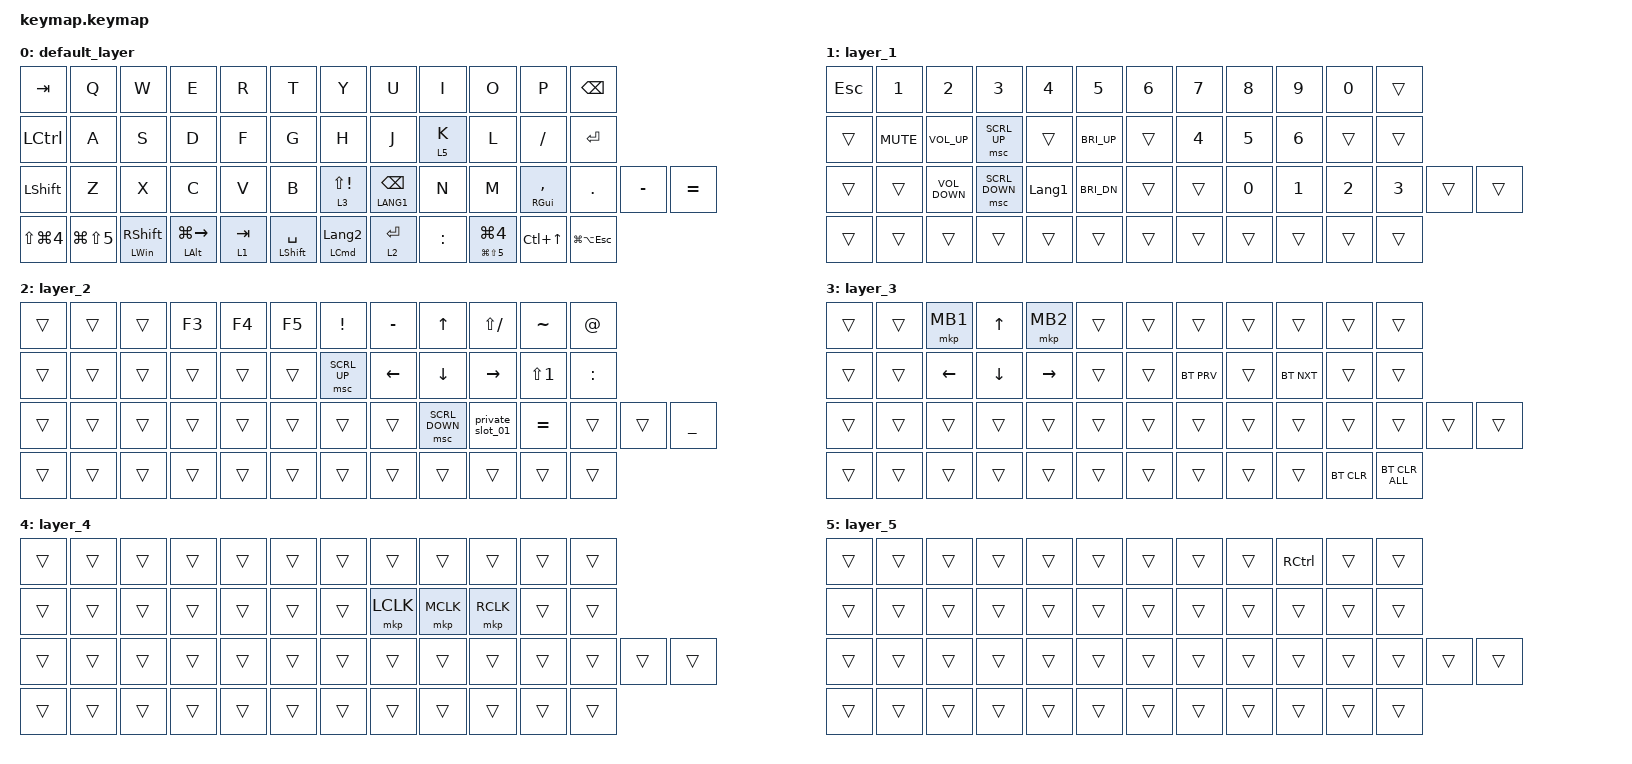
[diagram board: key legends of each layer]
/* Coron LP source confirmed: 2026-09-08 build94.
 * ZEN port: private text macros remain inactive placeholders.
 * Ordinary keymap compiled locally; no flash performed.
 */

#include <behaviors.dtsi>
#include <dt-bindings/zmk/bt.h>
#include <dt-bindings/zmk/keys.h>
#include <dt-bindings/zmk/pointing.h>

&mt {
    flavor = "balanced";
    quick-tap-ms = <0>;
};

/ {
    macros {
        to_layer_0: to_layer_0 {
            compatible = "zmk,behavior-macro-one-param";
            #binding-cells = <1>;
            bindings = <&to 0 &macro_param_1to1 &kp MACRO_PLACEHOLDER>;
        };

        private_slot_01: private_slot_01 {
            compatible = "zmk,behavior-macro";
            #binding-cells = <0>;
            bindings = <&none &kp S &kp H &kp E &kp N &kp N &kp R &kp O &kp N &kp N &kp N7 &kp NUMBER_2 &kp NUMBER_1 &kp N0>;
        };

        private_slot_02: private_slot_02 {
            compatible = "zmk,behavior-macro";
            #binding-cells = <0>;
            bindings = <&none &kp LS(S) &kp H &kp E &kp N &kp N &kp R &kp O &kp N &kp N &kp N7 &kp NUMBER_2 &kp NUMBER_1 &kp N0>;
        };

        private_slot_03: private_slot_03 {
            compatible = "zmk,behavior-macro";
            #binding-cells = <0>;
            bindings = <&none &kp S &kp H &kp E &kp N &kp N &kp R &kp O &kp N &kp N &kp N7 &kp NUMBER_2 &kp NUMBER_1 &kp N0 &kp EXCLAMATION>;
        };

        private_slot_04: private_slot_04 {
            compatible = "zmk,behavior-macro";
            #binding-cells = <0>;
            bindings = <&none &kp LS(S) &kp H &kp E &kp N &kp N &kp R &kp O &kp N &kp N &kp N7 &kp NUMBER_2 &kp NUMBER_1 &kp N0 &kp EXCLAMATION>;
        };

        private_slot_05: private_slot_05 {
            compatible = "zmk,behavior-macro";
            #binding-cells = <0>;
            bindings = <&none &kp Y &kp U &kp S &kp U &kp K &kp E &kp N7 &kp NUMBER_2 &kp NUMBER_1 &kp N0 &kp EXCLAMATION>;
        };

        private_slot_06: private_slot_06 {
            compatible = "zmk,behavior-macro";
            #binding-cells = <0>;
            bindings = <&none &kp LS(Y) &kp U &kp S &kp U &kp K &kp E &kp N7 &kp NUMBER_2 &kp NUMBER_1 &kp N0 &kp EXCLAMATION>;
        };
    };

    behaviors {
        lt_to_layer_0: lt_to_layer_0 {
            compatible = "zmk,behavior-hold-tap";
            bindings = <&mo>, <&to_layer_0>;

            #binding-cells = <2>;
            tapping-term-ms = <200>;
        };
    };

    combos {
        compatible = "zmk,combos";

        eq {
            bindings = <&kp LEFT_BRACKET>;
            key-positions = <9 22>;
            timeout-ms = <150>;
        };

        kakko {
            bindings = <&kp RIGHT_BRACKET>;
            key-positions = <21 36>;
            timeout-ms = <150>;
        };

        left {
            bindings = <&mkp LCLK>;
            key-positions = <19 20>;
            timeout-ms = <150>;
        };

        right {
            bindings = <&mkp RCLK>;
            key-positions = <20 21>;
            timeout-ms = <150>;
        };

        middle {
            bindings = <&mkp MB3>;
            key-positions = <19 21>;
            timeout-ms = <150>;
        };

        prev {
            bindings = <&mkp MB4>;
            key-positions = <7 8>;
            timeout-ms = <150>;
            layers = <1 2 3 4 5>;
        };

        next {
            bindings = <&mkp MB5>;
            key-positions = <8 9>;
            timeout-ms = <150>;
            layers = <1 2 3 4 5>;
        };

        midd {
            bindings = <&mkp MCLK>;
            key-positions = <2 4>;
            timeout-ms = <150>;
        };

        private_combo_01 {
            bindings = <&private_slot_01>;
            key-positions = <1 2>;
        };

        private_combo_02 {
            bindings = <&private_slot_02>;
            key-positions = <13 14>;
        };

        private_combo_03 {
            bindings = <&private_slot_04>;
            key-positions = <25 26>;
        };

        private_combo_04 {
            bindings = <&private_slot_05>;
            key-positions = <40 39>;
        };

        private_combo_05 {
            bindings = <&private_slot_06>;
            key-positions = <9 10>;
        };

        relocated_cmd_right {
            bindings = <&kp LG(RIGHT)>;
            key-positions = <16 17>;
            layers = <2>;
            timeout-ms = <150>;
        };

        yubikkuri {
            bindings = <&private_slot_06>;
            key-positions = <21 22>;
        };
    };

    keymap {
        compatible = "zmk,keymap";

        default_layer {
            bindings = <
&kp TAB               &kp Q           &kp W                     &kp E                   &kp R                 &kp T                 &kp Y                             &kp U                   &kp I      &kp O                        &kp P                &kp BACKSPACE
&kp LCTRL             &kp A           &kp S                     &kp D                   &kp F                 &kp G                 &kp H                             &kp J                   &lt 5 K    &kp L                        &kp SLASH            &kp ENTER
&kp LEFT_SHIFT        &kp Z           &kp X                     &kp C                   &kp V                 &kp B                 &lt_to_layer_0 3 LS(EXCLAMATION)  &mt LANG1 BACKSPACE     &kp N      &kp M                        &mt RIGHT_GUI COMMA  &kp DOT          &kp MINUS  &kp EQUAL
&kp LS(LG(NUMBER_4))  &kp LG(LS(N5))  &mt LEFT_WIN RIGHT_SHIFT  &mt LEFT_ALT LG(RIGHT)  &lt_to_layer_0 1 TAB  &mt LEFT_SHIFT SPACE  &mt LEFT_COMMAND LANGUAGE_2       &lt_to_layer_0 2 ENTER  &kp COLON  &mt LG(LS(N5)) LG(NUMBER_4)  &kp LC(UP_ARROW)     &kp LG(LA(ESC))
            >;
        };

        layer_1 {
            bindings = <
&kp ESCAPE  &kp NUMBER_1  &kp NUMBER_2       &kp NUMBER_3    &kp NUMBER_4    &kp N5        &kp NUMBER_6  &kp N7        &kp N8  &kp N9        &kp N0        &trans
&trans      &kp C_MUTE    &kp C_VOLUME_UP    &msc SCRL_UP    &trans          &kp C_BRI_UP  &trans        &kp NUMBER_4  &kp N5  &kp NUMBER_6  &trans        &trans
&trans      &trans        &kp C_VOLUME_DOWN  &msc SCRL_DOWN  &kp LANGUAGE_1  &kp C_BRI_DN  &trans        &trans        &kp N0  &kp NUMBER_1  &kp NUMBER_2  &kp NUMBER_3  &trans  &trans
&trans      &trans        &trans             &trans          &trans          &trans        &trans        &trans        &trans  &trans        &trans        &trans
            >;
        };

        layer_2 {
            bindings = <
&trans  &trans  &trans  &kp F3  &kp F4  &kp F5  &kp EXCLAMATION  &kp MINUS       &kp UP_ARROW    &kp LS(SLASH)     &kp TILDE         &kp AT_SIGN
&trans  &trans  &trans  &trans  &trans  &trans  &msc SCRL_UP     &kp LEFT_ARROW  &kp DOWN_ARROW  &kp RIGHT         &kp LS(NUMBER_1)  &kp COLON
&trans  &trans  &trans  &trans  &trans  &trans  &trans           &trans          &msc SCRL_DOWN  &private_slot_01  &kp EQUAL         &trans       &trans  &kp UNDER
&trans  &trans  &trans  &trans  &trans  &trans  &trans           &trans          &trans          &trans            &trans            &trans
            >;
        };

        layer_3 {
            bindings = <
&trans  &trans  &mkp MB1        &kp UP_ARROW    &mkp MB2         &trans  &trans  &trans      &trans  &trans      &trans      &trans
&trans  &trans  &kp LEFT_ARROW  &kp DOWN_ARROW  &kp RIGHT_ARROW  &trans  &trans  &bt BT_PRV  &trans  &bt BT_NXT  &trans      &trans
&trans  &trans  &trans          &trans          &trans           &trans  &trans  &trans      &trans  &trans      &trans      &trans          &trans  &trans
&trans  &trans  &trans          &trans          &trans           &trans  &trans  &trans      &trans  &trans      &bt BT_CLR  &bt BT_CLR_ALL
            >;
        };

        layer_4 {
            bindings = <
&trans  &trans  &trans  &trans  &trans  &trans  &trans  &trans     &trans     &trans     &trans  &trans
&trans  &trans  &trans  &trans  &trans  &trans  &trans  &mkp LCLK  &mkp MCLK  &mkp RCLK  &trans  &trans
&trans  &trans  &trans  &trans  &trans  &trans  &trans  &trans     &trans     &trans     &trans  &trans  &trans  &trans
&trans  &trans  &trans  &trans  &trans  &trans  &trans  &trans     &trans     &trans     &trans  &trans
            >;
        };

        layer_5 {
            bindings = <
&trans  &trans  &trans  &trans  &trans  &trans  &trans  &trans  &trans  &kp RIGHT_CONTROL  &trans  &trans
&trans  &trans  &trans  &trans  &trans  &trans  &trans  &trans  &trans  &trans             &trans  &trans
&trans  &trans  &trans  &trans  &trans  &trans  &trans  &trans  &trans  &trans             &trans  &trans  &trans  &trans
&trans  &trans  &trans  &trans  &trans  &trans  &trans  &trans  &trans  &trans             &trans  &trans
            >;
        };
    };
};
